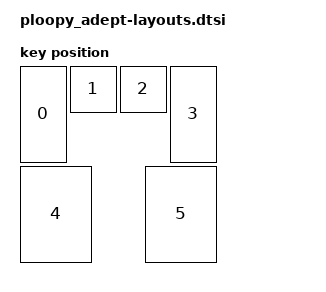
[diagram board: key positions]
#include <physical_layouts.dtsi>

/ {
    physical_layout0: physical_layout_0 {
        compatible = "zmk,physical-layout";
        display-name = "Default Layout";

        kscan = <&kscan0>;
        transform = <&matrix_transform0>;

        keys  //                     w   h    x    y     rot    rx    ry
            = <&key_physical_attrs 100 200    0    0       0     0     0>
            , <&key_physical_attrs 100 100  100    0       0     0     0>
            , <&key_physical_attrs 100 100  200    0       0     0     0>
            , <&key_physical_attrs 100 200  300    0       0     0     0>

            , <&key_physical_attrs 150 200    0  200       0     0     0>
            , <&key_physical_attrs 150 200  250  200       0     0     0>
            ;
    };
};
